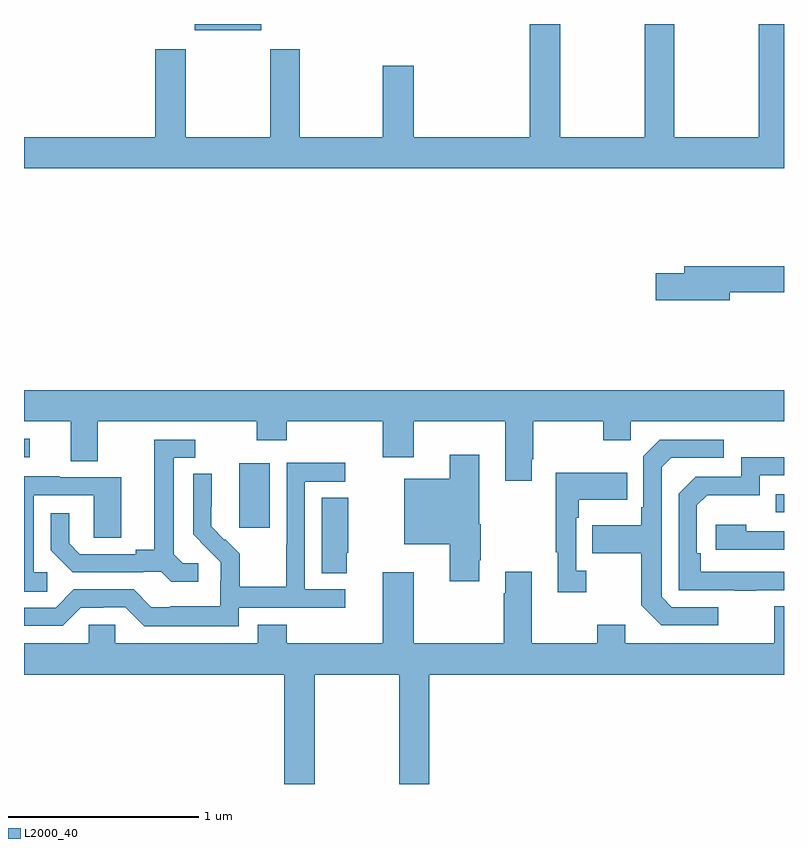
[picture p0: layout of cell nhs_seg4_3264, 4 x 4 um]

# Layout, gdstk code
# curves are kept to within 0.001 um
import gdstk
lib = gdstk.Library(unit=1e-6, precision=1e-09)
def R(c, l, rs):  # rectangles x0, y0, x1, y1
    for r in rs: c.add(gdstk.rectangle(r[:2], r[2:], *l))
def P(c, l, *ps):  # polygons
    for p in ps: c.add(gdstk.Polygon(p, *l))
L2000_40 = (2000, 40)

nhs_seg4_3264 = lib.new_cell('nhs_seg4_3264')
R(nhs_seg4_3264, L2000_40, [(284.132,808.248,284.293,808.588), (286.957,808.329,287,808.425), (283,808.62,283.03,808.716), (283.898,810.866,284.248,810.9)])
P(nhs_seg4_3264, L2000_40, [(287,810.9),(286.867,810.9),(286.867,810.304),(286.422,810.304),(286.422,810.9),(286.267,810.9),(286.267,810.304),(285.822,810.304),(285.822,810.9),(285.662,810.9),(285.662,810.304),(285.052,810.304),(285.052,810.679),(284.888,810.679),(284.888,810.304),(284.451,810.304),(284.451,810.766),(284.296,810.766),(284.296,810.304),(283.851,810.304),(283.851,810.766),(283.691,810.766),(283.691,810.304),(283,810.304),(283,810.14),(287,810.14)],
  [(286.714,809.488),(287,809.488),(287,809.624),(286.475,809.624),(286.475,809.588),(286.326,809.588),(286.326,809.446),(286.714,809.446)],
  [(285.673,808.609),(285.681,808.609),(285.681,808.808),(286.048,808.808),(286.048,808.709),(286.194,808.709),(286.194,808.808),(287,808.808),(287,808.972),(283,808.972),(283,808.808),(283.247,808.808),(283.247,808.6),(283.387,808.6),(283.387,808.808),(284.224,808.808),(284.224,808.709),(284.384,808.709),(284.384,808.808),(284.888,808.808),(284.888,808.62),(285.052,808.62),(285.052,808.808),(285.533,808.808),(285.533,808.497),(285.673,808.497)],
  [(286.654,807.831),(286.41,807.831),(286.356,807.885),(286.356,808.566),(286.407,808.617),(286.684,808.617),(286.684,808.713),(286.347,808.713),(286.26,808.626),(286.26,808.357),(286.248,808.357),(286.248,808.261),(285.991,808.261),(285.991,808.114),(286.248,808.114),(286.248,807.841),(286.353,807.735),(286.654,807.735)],
  [(283.918,808.062),(283.836,808.062),(283.789,808.109),(283.789,808.617),(283.9,808.617),(283.9,808.713),(283.685,808.713),(283.685,808.133),(283.589,808.133),(283.589,808.11),(283.294,808.11),(283.237,808.167),(283.237,808.324),(283.14,808.324),(283.14,808.13),(283.256,808.014),(283.628,808.014),(283.628,808.017),(283.722,808.017),(283.774,807.965),(283.918,807.965)],
  [(285.397,808.078),(285.405,808.078),(285.405,808.267),(285.397,808.267),(285.397,808.633),(285.242,808.633),(285.242,808.507),(285.002,808.507),(285.002,808.163),(285.242,808.163),(285.242,807.966),(285.397,807.966)],
  [(286.853,807.921),(287,807.921),(287,808.017),(286.562,808.017),(286.562,808.114),(286.542,808.114),(286.542,808.368),(286.595,808.421),(286.872,808.421),(286.872,808.524),(287,808.524),(287,808.62),(286.776,808.62),(286.776,808.518),(286.536,808.518),(286.446,808.428),(286.446,807.921),(286.741,807.921),(286.741,807.916),(286.853,807.916)],
  [(284.13,807.828),(284.692,807.828),(284.692,807.924),(284.478,807.924),(284.478,808.491),(284.692,808.491),(284.692,808.59),(284.382,808.59),(284.382,808.16),(284.38,808.16),(284.38,807.937),(284.135,807.937),(284.135,808.111),(284.058,808.188),(284.055,808.185),(283.985,808.256),(283.985,808.36),(283.987,808.36),(283.987,808.532),(283.89,808.532),(283.89,808.214),(284.036,808.066),(284.036,807.969),(284.034,807.969),(284.034,807.835),(283.771,807.835),(283.771,807.831),(283.671,807.831),(283.578,807.924),(283.263,807.924),(283.167,807.828),(283,807.828),(283,807.732),(283.203,807.732),(283.299,807.828),(283.418,807.828),(283.418,807.831),(283.533,807.831),(283.633,807.731),(284.13,807.731)],
  [(285.958,808.022),(285.906,808.022),(285.906,808.301),(285.919,808.301),(285.919,808.397),(286.175,808.397),(286.175,808.537),(285.798,808.537),(285.798,808.121),(285.809,808.121),(285.809,807.909),(285.958,807.909)],
  [(283.123,808.014),(283.05,808.014),(283.05,808.419),(283.368,808.419),(283.368,808.195),(283.513,808.195),(283.513,808.515),(283.189,808.515),(283.189,808.519),(283,808.519),(283,807.913),(283.123,807.913)],
  [(284.698,808.117),(284.706,808.117),(284.706,808.406),(284.567,808.406),(284.567,808.009),(284.698,808.009)],
  [(287,808.23),(286.802,808.23),(286.802,808.264),(286.641,808.264),(286.641,808.134),(287,808.134)],
  [(285.052,808.015),(284.888,808.015),(284.888,807.64),(284.384,807.64),(284.384,807.739),(284.231,807.739),(284.231,807.64),(283.479,807.64),(283.479,807.738),(283.341,807.738),(283.341,807.64),(283,807.64),(283,807.476),(284.369,807.476),(284.369,806.9),(284.529,806.9),(284.529,807.476),(284.974,807.476),(284.974,806.9),(285.134,806.9),(285.134,807.476),(287,807.476),(287,807.835),(286.949,807.835),(286.949,807.64),(286.165,807.64),(286.165,807.739),(286.018,807.739),(286.018,807.64),(285.673,807.64),(285.673,808.018),(285.533,808.018),(285.533,807.905),(285.526,807.905),(285.526,807.64),(285.052,807.64)])

lib.write_gds('nhs_seg4_3264.gds')
